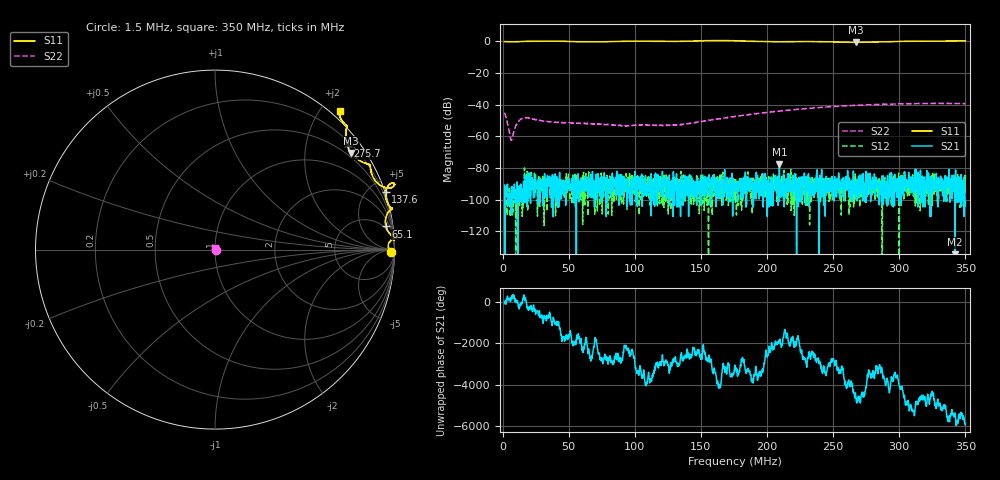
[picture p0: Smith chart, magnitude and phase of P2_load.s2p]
# Hz S RI R 50
! RAW DATA - UNCALIBRATED
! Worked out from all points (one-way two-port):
!   1601 points, 1.5 MHz to 350 MHz, reference 50 ohm
!   highest |S21| = -77.78 dB at 209.3 MHz (marker M1); lowest = -186.1 dB at 342.2 MHz (marker M2)
!   lowest |S11| = -0.6 dB at 267.4 MHz (marker M3), VSWR 27.95, Z = 19.2 + j155 ohm
!   |S11| at or under -10 dB: nowhere
!   |S22| runs from -62.6 to -39.2 dB; largest |S21 - S12| = 0.00013
!   S11 on the Smith chart (normalised r, x): 1.5 MHz: 66, -42; 65.1 MHz: 4, +14; 137.6 MHz: -0.07, +6.08; 275.7 MHz: 0.31, +2.88; 350 MHz: -0.11, +2.24
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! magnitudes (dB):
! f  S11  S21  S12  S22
! 1.5 MHz  -0.2  -90.7  -100.9  -45.1
! 3.025 MHz  -0.2  -97.1  -104.7  -49.4
! 5.421 MHz  -0.3  -96.1  -94.5  -58.8
! 6.728 MHz  -0.3  -91.8  -102.1  -62.5
! 7.817 MHz  -0.3  -97.8  -100.5  -59.1
! 9.777 MHz  -0.3  -101.9  -98.5  -53.7
! 11.52 MHz  -0.2  -184.3  -107.6  -51.1
! 16.09 MHz  -0.1  -92.5  -91.4  -48.3
! 37.66 MHz  0.1  -84.2  -89.1  -51.1
! 59.66 MHz  -0.3  -91.9  -92.7  -51.9
! 65.1 MHz  -0.3  -86.3  -82.5  -52.0
! 91.67 MHz  0.0  -85.4  -89.0  -53.3
! 117.8 MHz  0.0  -92.1  -86.1  -52.9
! 137.6 MHz  0.0  -88.5  -94.0  -52.4
! 175.8 MHz  0.4  -89.4  -90.7  -47.5
! 209.3 MHz  -0.3  -77.8  -89.1  -44.1
! 233.9 MHz  -0.2  -97.5  -95.0  -42.2
! 267.4 MHz  -0.6  -99.3  -93.9  -40.4
! 275.7 MHz  -0.6  -89.7  -85.6  -40.1
! 292.1 MHz  -0.2  -91.7  -99.7  -39.7
! 342.2 MHz  0.2  -186.1  -96.8  -39.3
! 350 MHz  0.3  -101.1  -82.8  -39.4
